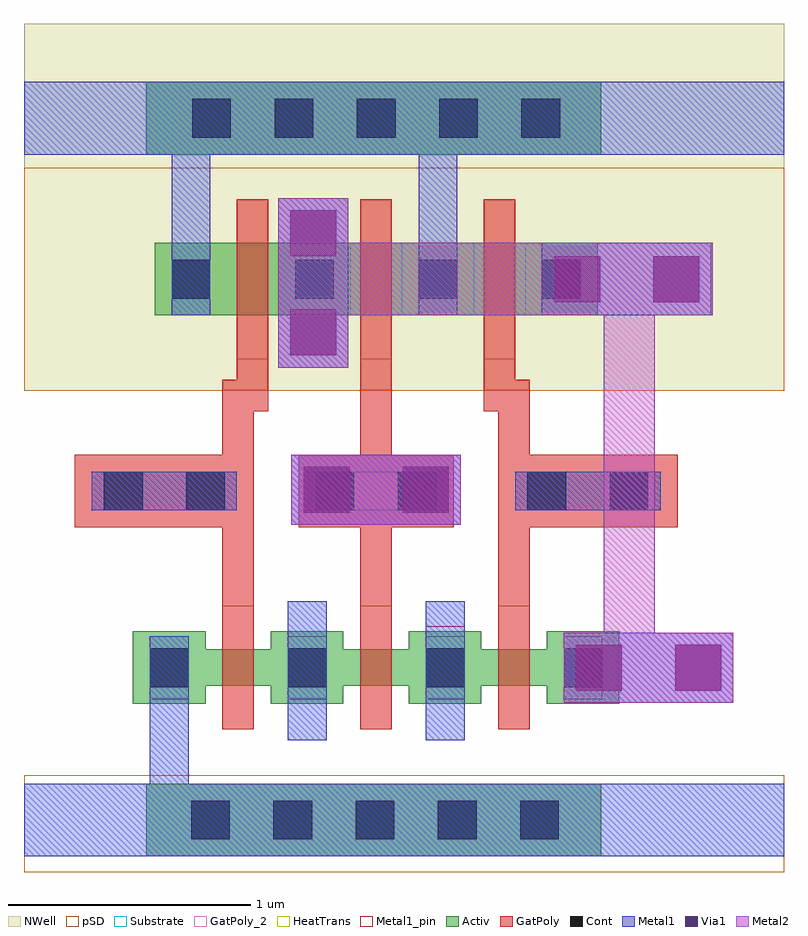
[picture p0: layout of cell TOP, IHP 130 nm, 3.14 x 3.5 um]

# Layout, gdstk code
from math import pi, radians
import gdstk
lib = gdstk.Library(unit=1e-6, precision=1e-09)
def R(c, l, rs):  # rectangles x0, y0, x1, y1
    for r in rs: c.add(gdstk.rectangle(r[:2], r[2:], *l))
def A(c, l, x, y, w, h, nx, ny, dx, dy):  # array of equal rectangles
    R(c, l, [(x+i*dx, y+j*dy, x+i*dx+w, y+j*dy+h) for i in range(nx) for j in range(ny)])
def P(c, l, *ps):  # polygons
    for p in ps: c.add(gdstk.Polygon(p, *l))
Activ = (1, 0)
GatPoly = (5, 0)
GatPoly_2 = (5, 2)
Cont = (6, 0)
Metal1 = (8, 0)
Metal1_pin = (8, 2)
Metal2 = (10, 0)
pSD = (14, 0)
Via1 = (19, 0)
NWell = (31, 0)
Substrate = (40, 0)
HeatTrans = (51, 0)

via_stack = lib.new_cell('via_stack')
R(via_stack, Metal1, [(-0.35,-0.145,0.35,0.145)])
R(via_stack, Metal2, [(-0.35,-0.145,0.35,0.145)])
R(via_stack, Via1, [(-0.3,-0.095,-0.11,0.095), (0.11,-0.095,0.3,0.095)])

nmos = lib.new_cell('nmos')
R(nmos, Activ, [(0,0,0.3,0.3), (0.57,0,0.87,0.3), (0,0.075,0.87,0.225)])
R(nmos, GatPoly, [(0.37,-0.105,0.5,0.405)])
R(nmos, GatPoly_2, [(0.37,-0.105,0.5,0.405)])
R(nmos, Cont, [(0.07,0.07,0.23,0.23), (0.64,0.07,0.8,0.23)])
R(nmos, Metal1, [(0.07,0.02,0.23,0.28), (0.64,0.02,0.8,0.28)])
R(nmos, Metal1_pin, [(0.07,0.02,0.23,0.28), (0.64,0.02,0.8,0.28)])
R(nmos, HeatTrans, [(0.37,-0.105,0.5,0.405)])
nmos.add(gdstk.Label('nmos', (0.435,0.15), layer=63, texttype=0))
nmos.add(gdstk.Label('nmos', (0.435,0.15), layer=51, texttype=0))

pmos = lib.new_cell('pmos')
R(pmos, Activ, [(0,0,0.3,0.3), (0,0,0.81,0.3), (0.51,0,0.81,0.3)])
R(pmos, GatPoly, [(0.34,-0.18,0.47,0.48), (0.34,-0.18,0.47,0.48)])
R(pmos, Cont, [(0.07,0.07,0.23,0.23), (0.58,0.07,0.74,0.23)])
R(pmos, Metal1, [(0.07,0,0.23,0.3), (0.07,0,0.23,0.3), (0.58,0,0.74,0.3), (0.58,0,0.74,0.3)])
R(pmos, pSD, [(-0.18,-0.3,0.99,0.6)])
R(pmos, NWell, [(-0.31,-0.31,1.12,0.61)])
R(pmos, Substrate, [(0.51,0,0.81,0.3)])
R(pmos, HeatTrans, [(0.34,-0.18,0.47,0.48)])
pmos.add(gdstk.Label('pmos', (0.405,0.15), layer=63, texttype=0))
pmos.add(gdstk.Label('pmos', (0.405,0.15), layer=51, texttype=0))

top = lib.new_cell('TOP')
R(top, Activ, [(0.775,1.165,2.655,1.465), (0.775,4.065,2.655,4.365)])
P(top, GatPoly, [(1.66,2.2),(1.66,2.525),(1.405,2.525),(1.405,2.825),(1.66,2.825),(1.66,3.22),(1.79,3.22),(1.79,2.825),(2.045,2.825),(2.045,2.525),(1.79,2.525),(1.79,2.2)],
  [(1.09,2.2),(1.09,2.525),(0.48,2.525),(0.48,2.825),(1.09,2.825),(1.09,3.135),(1.15,3.135),(1.15,3.22),(1.28,3.22),(1.28,3.005),(1.22,3.005),(1.22,2.2)],
  [(2.23,2.2),(2.23,3.005),(2.17,3.005),(2.17,3.22),(2.3,3.22),(2.3,3.135),(2.36,3.135),(2.36,2.825),(2.97,2.825),(2.97,2.525),(2.36,2.525),(2.36,2.2)])
A(top, Cont, 0.96, 1.235, 0.16, 0.16, 5, 1, 0.34, 0)
A(top, Cont, 0.965, 4.135, 0.16, 0.16, 5, 1, 0.34, 0)
R(top, Cont, [(0.6,2.595,0.76,2.755), (0.94,2.595,1.1,2.755), (1.475,2.595,1.635,2.755), (1.815,2.595,1.975,2.755), (2.35,2.595,2.51,2.755), (2.69,2.595,2.85,2.755)])
A(top, Metal1, 0.55, 2.595, 0.6, 0.16, 3, 1, 0.875, 0)
R(top, Metal1, [(1.36,1.645,1.52,2.22), (1.93,1.645,2.09,2.22), (2.5,1.8,3.2,2.09), (1.32,3.185,1.61,3.885), (2.41,3.4,3.11,3.7)])
P(top, Metal1, [(0.88,3.7),(0.88,4.065),(0.27,4.065),(0.27,4.365),(3.41,4.365),(3.41,4.065),(2.06,4.065),(2.06,3.7),(1.9,3.7),(1.9,4.065),(1.04,4.065),(1.04,3.7)],
  [(0.27,1.165),(0.27,1.465),(0.79,1.465),(0.79,1.815),(0.95,1.815),(0.95,1.465),(3.41,1.465),(3.41,1.165)])
A(top, Metal1_pin, 0.55, 2.595, 0.6, 0.16, 3, 1, 0.875, 0)
R(top, Metal1_pin, [(0.27,1.165,3.41,1.465), (1.93,2.115,2.09,2.22), (2.41,3.4,3.11,3.7), (0.27,4.065,3.41,4.365)])
P(top, Metal2, [(2.665,1.94),(2.665,3.4),(1.47,3.4),(1.47,3.7),(3.115,3.7),(3.115,3.4),(2.875,3.4),(2.875,2.61),(2.875,1.94)])
R(top, pSD, [(0.27,1.1,3.41,1.5), (0.27,3.09,3.41,4.01)])
P(top, NWell, [(0.27,3.09),(0.27,4.605),(3.41,4.605),(3.41,3.09),(2.95,3.09),(2.95,4.01),(0.5,4.01),(0.5,3.09)])
top.add(gdstk.Reference(via_stack, (2.85,1.945)))
top.add(gdstk.Reference(nmos, (1.86,1.795)))
top.add(gdstk.Reference(nmos, (1.29,1.795)))
top.add(gdstk.Reference(nmos, (0.72,1.795)))
top.add(gdstk.Reference(via_stack, (1.725,2.68)))
top.add(gdstk.Reference(pmos, (1.83,3.4)))
top.add(gdstk.Reference(pmos, (0.81,3.4)))
top.add(gdstk.Reference(pmos, (1.32,3.4)))
top.add(gdstk.Reference(via_stack, (1.465,3.535), rotation=pi/2))
top.add(gdstk.Reference(via_stack, (2.76,3.55)))

lib.write_gds('TOP.gds')
